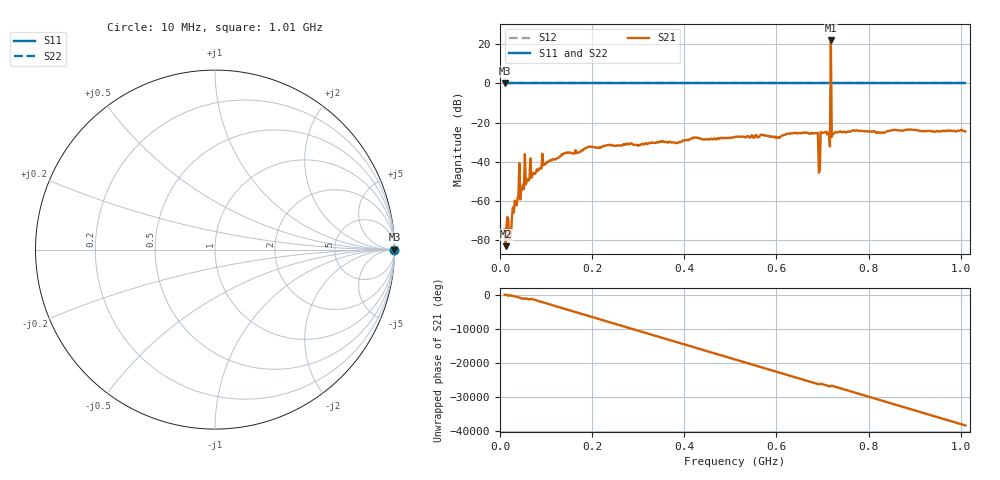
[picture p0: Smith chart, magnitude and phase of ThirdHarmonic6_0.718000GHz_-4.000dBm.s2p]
! 8/15/2025 11:59:56 PM
! C:\ANRITSUVNA\TEMP\TEMP.S2P
! CHANNEL.1
! TR.MEASUREMENT
! RAW.DATA
! RF.CORRECTION.OFF
! AVERAGING.OFF
! IF.BANDWIDTH: 5KHZ
! SWEEPTYPE:  FREQ.SWEEP(Linear)
! Reference Plane Port Info
! PORT:  PORT1  PORT2
! DISTANCE:  0  m  0  m
! TIME:  0  s  0  s
! PHASE.OFFSET:  0  deg.  0  deg.
! LOSS:  0  dB  0  dB
! REF.LOSS:  0  dB  0  dB
! REF.FREQ:  0  Hz  0  Hz
! Power Info
! POWER:  -20  dBm  -20  dBm
! EFF.POWER:  -20  dBm  -20  dBm
! SOURCE.ATTEN:  0  dB  0  dB
! TEST.ATTEN:  0  dB  0  dB
# GHZ S RI R 50.0
! FREQ.GHZ  S11RE  S11IM  S21RE  S21IM  S12RE  S12IM  S22RE  S22IM
!; PortSelection: Port_12
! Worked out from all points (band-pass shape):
!   501 points, 10 MHz to 1.01 GHz, reference 50 ohm
!   highest |S21| = 21.88 dB at 718 MHz (marker M1); lowest = -83.1 dB at 12 MHz (marker M2)
!   |S21| within 3 dB of the highest: 717.8891 MHz to 718.1221 MHz (233 kHz wide, 0.0324 % of centre)
!   lowest |S11| = 0.0 dB at 10 MHz (marker M3)
!   |S11| at or under -10 dB: nowhere
!   |S22| runs from 0.0 to 0.0 dB; largest |S21 - S12| = 13
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0.01  1 0  0.000138 0.000127  1 0  1 0
0.012  1 0  -6.1e-05 3.46e-05  1 0  1 0
0.022  1 0  6.16e-05 -8.46e-05  1 0  1 0
0.038  1 0  -0.00108 -0.000262  1 0  1 0
0.048  1 0  0.000784 0.00179  1 0  1 0
0.058  1 0  0.0028 0.00143  1 0  1 0
0.096  1 0  -6e-07 -0.00854  1 0  1 0
0.178  1 0  -0.0189 -0.00456  1 0  1 0
0.344  1 0  0.0301 -0.00676  1 0  1 0
0.51  1 0  -0.04 0.0154  1 0  1 0
0.678  1 0  -0.0255 -0.0453  1 0  1 0
0.686  1 0  0.00926 -0.0526  1 0  1 0
0.69  1 0  -0.0273 0.0471  1 0  1 0
0.696  1 0  -0.0303 -0.0489  1 0  1 0
0.7  1 0  0.0133 0.0527  1 0  1 0
0.712  1 0  0.0364 -0.0405  1 0  1 0
0.714  1 0  -0.0341 -0.0433  1 0  1 0
0.718  1 0  -10.06 -7.265  1 0  1 0
0.722  1 0  -0.00102 -0.0519  1 0  1 0
0.724  1 0  -0.0518 -0.0092  1 0  1 0
0.844  1 0  0.0443 0.0417  1 0  1 0
1.01  1 0  -0.0573 -0.0136  1 0  1 0
